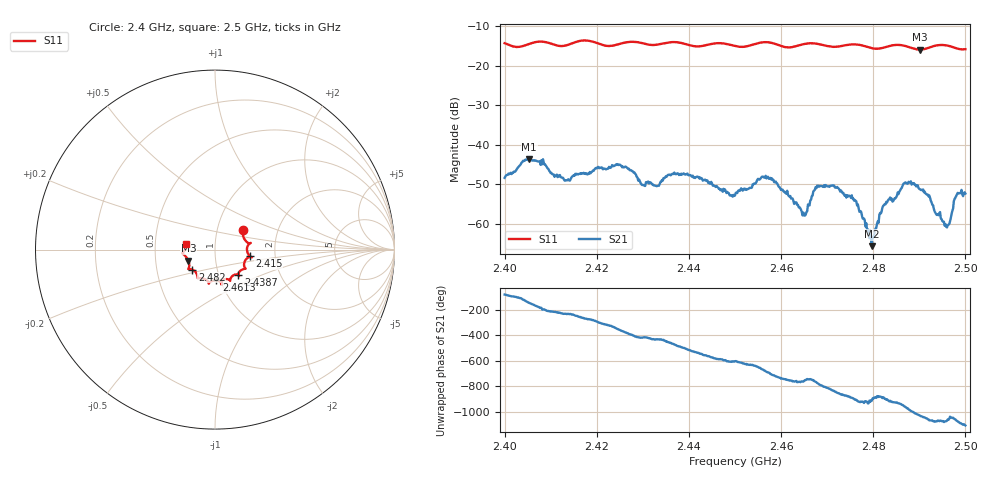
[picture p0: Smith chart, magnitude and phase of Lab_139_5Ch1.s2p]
# Hz S RI R 50
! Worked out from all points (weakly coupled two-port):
!   601 points, 2.4 GHz to 2.5 GHz, reference 50 ohm
!   highest |S21| = -43.60 dB at 2.4053 GHz (marker M1); lowest = -65.7 dB at 2.4797 GHz (marker M2)
!   lowest |S11| = -15.9 dB at 2.4902 GHz (marker M3), VSWR 1.38, Z = 36.9 - j4.68 ohm
!   |S11| at or under -10 dB: start of sweep to end of sweep
!   S12 and S22 are empty: the file has one direction only
!   S11 on the Smith chart (normalised r, x): 2.4 GHz: 1.33, +0.31; 2.415 GHz: 1.47, -0.11; 2.4387 GHz: 1.24, -0.36; 2.4613 GHz: 0.96, -0.34; 2.482 GHz: 0.76, -0.17; 2.5 GHz: 0.72, +0.05
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2.4e9  0.1578 0.1119  0.00057 -0.00376  0 0  0 0
2.405333e9  0.1854 0.037  -0.00552 -0.00363  0 0  0 0
2.415e9  0.1925 -0.0358  -0.00204 0.00357  0 0  0 0
2.416667e9  0.2036 -0.0437  -0.000651 0.00432  0 0  0 0
2.424667e9  0.1627 -0.0926  0.0055 0.000585  0 0  0 0
2.433333e9  0.1322 -0.1314  0.000893 -0.00288  0 0  0 0
2.438667e9  0.1307 -0.1414  -0.00313 -0.00285  0 0  0 0
2.45e9  0.0689 -0.1649  -0.000984 0.00205  0 0  0 0
2.456167e9  0.0371 -0.1954  0.00255 0.00299  0 0  0 0
2.461333e9  0.00751 -0.1712  0.00227 -0.00128  0 0  0 0
2.465e9  -0.0333 -0.1855  0.00101 -0.00078  0 0  0 0
2.466667e9  -0.035 -0.1899  0.00199 -0.00102  0 0  0 0
2.471e9  -0.0538 -0.1661  -0.00103 -0.00286  0 0  0 0
2.475167e9  -0.0934 -0.1609  -0.00207 -0.000458  0 0  0 0
2.479667e9  -0.1043 -0.1311  -0.000502 0.000127  0 0  0 0
2.482e9  -0.1257 -0.1117  -0.00159 -0.000215  0 0  0 0
2.483333e9  -0.1395 -0.1088  -0.00196 0.000477  0 0  0 0
2.487167e9  -0.1453 -0.1008  -0.0013 0.00296  0 0  0 0
2.490167e9  -0.148 -0.0619  0.00179 0.00205  0 0  0 0
2.496e9  -0.1799 -0.0173  0.000881 0.000159  0 0  0 0
2.498e9  -0.1669 -0.00035  0.00217 0.000549  0 0  0 0
2.5e9  -0.159 0.0327  0.00215 -0.00107  0 0  0 0
